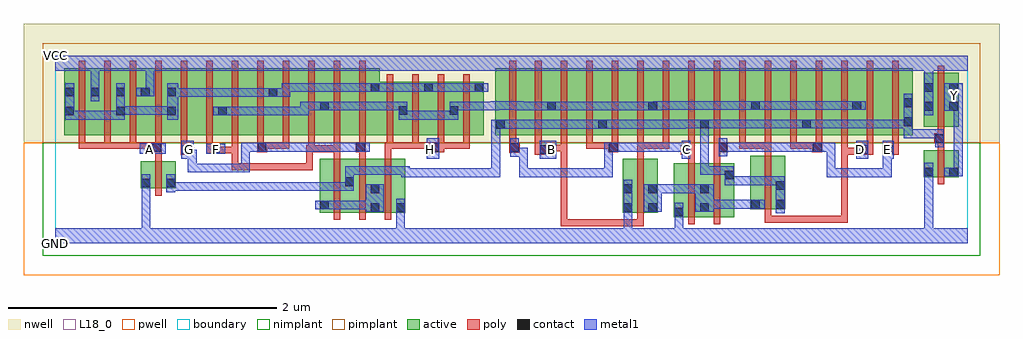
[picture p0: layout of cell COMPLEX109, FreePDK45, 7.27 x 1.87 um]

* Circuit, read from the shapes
.subckt COMPLEX109 A B C D E F G GND H VCC Y
M1 n1 A GND VSUBS nfet w=0.2u l=0.05u
M2 n1 F n2 VSUBS nfet w=0.4u l=0.05u
M3 n2 G n1 VSUBS nfet w=0.4u l=0.05u
M4 GND H n2 VSUBS nfet w=0.4u l=0.05u
M5 n3 B GND VSUBS nfet w=0.4u l=0.05u
M6 n3 C GND VSUBS nfet w=0.4u l=0.05u
M7 n1 E n3 VSUBS nfet w=0.4u l=0.05u
M8 n1 D n3 VSUBS nfet w=0.4u l=0.05u
M9 Y n1 GND VSUBS nfet w=0.2u l=0.05u
M10 VCC A n4 n5 pfet w=0.5u l=0.05u m=4
M11 n6 G n4 n5 pfet w=0.5u l=0.05u
M12 n7 F n6 n5 pfet w=0.5u l=0.05u
M13 n8 F n7 n5 pfet w=0.5u l=0.05u
M14 n4 G n8 n5 pfet w=0.5u l=0.05u
M15 n9 G n4 n5 pfet w=0.5u l=0.05u
M16 n7 F n9 n5 pfet w=0.5u l=0.05u
M17 n10 F n7 n5 pfet w=0.5u l=0.05u
M18 n4 G n10 n5 pfet w=0.5u l=0.05u
M19 n7 H n4 n5 pfet w=0.4u l=0.05u m=4
M20 n11 C n1 n5 pfet w=0.5u l=0.05u
M21 n7 B n11 n5 pfet w=0.5u l=0.05u
M22 n12 B n7 n5 pfet w=0.5u l=0.05u
M23 n1 C n12 n5 pfet w=0.5u l=0.05u
M24 n13 C n1 n5 pfet w=0.5u l=0.05u
M25 n7 B n13 n5 pfet w=0.5u l=0.05u
M26 n14 B n7 n5 pfet w=0.5u l=0.05u
M27 n1 C n14 n5 pfet w=0.5u l=0.05u
M28 n15 E n1 n5 pfet w=0.5u l=0.05u
M29 n7 D n15 n5 pfet w=0.5u l=0.05u
M30 n16 D n7 n5 pfet w=0.5u l=0.05u
M31 n1 E n16 n5 pfet w=0.5u l=0.05u
M32 n17 E n1 n5 pfet w=0.5u l=0.05u
M33 n7 D n17 n5 pfet w=0.5u l=0.05u
M34 n18 D n7 n5 pfet w=0.5u l=0.05u
M35 n1 E n18 n5 pfet w=0.5u l=0.05u
M36 Y n1 VCC n5 pfet w=0.4u l=0.05u
.ends

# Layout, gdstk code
import gdstk
lib = gdstk.Library(unit=1e-6, precision=1e-09)
def R(c, l, rs):  # rectangles x0, y0, x1, y1
    for r in rs: c.add(gdstk.rectangle(r[:2], r[2:], *l))
def A(c, l, x, y, w, h, nx, ny, dx, dy):  # array of equal rectangles
    R(c, l, [(x+i*dx, y+j*dy, x+i*dx+w, y+j*dy+h) for i in range(nx) for j in range(ny)])
active = (1, 0)
pwell = (2, 0)
nwell = (3, 0)
nimplant = (4, 0)
pimplant = (5, 0)
poly = (9, 0)
contact = (10, 0)
metal1 = (11, 0)
L18_0 = (18, 0)
boundary = (235, 0)

complex109 = lib.new_cell('COMPLEX109')
A(complex109, active, 0.07, 0.805, 0.075, 0.395, 3, 1, 0.38, 0)
A(complex109, active, 3.28, 0.805, 0.225, 0.5, 3, 1, 0.38, 0)
A(complex109, active, 4.04, 0.805, 0.075, 0.265, 3, 1, 0.76, 0)
A(complex109, active, 4.645, 0.805, 0.23, 0.5, 3, 1, 0.38, 0)
A(complex109, active, 4.8, 0.805, 0.225, 0.5, 3, 1, 0.38, 0)
R(complex109, active, [(4.61,0.197,4.875,0.597), (4.61,0.197,4.685,0.492), (4.8,0.197,5.06,0.597), (1.97,0.23,2.045,0.63), (1.97,0.23,2.23,0.63), (2.155,0.23,2.42,0.63), (2.345,0.23,2.42,0.492), (2.345,0.23,2.61,0.63), (2.535,0.23,2.61,0.63), (4.23,0.23,4.305,0.63), (4.23,0.23,4.49,0.63), (4.415,0.23,4.49,0.63), (4.8,0.23,4.875,0.492), (5.18,0.255,5.255,0.655), (5.18,0.255,5.44,0.655), (5.365,0.255,5.44,0.655), (2.155,0.295,2.23,0.63), (4.985,0.295,5.06,0.597), (0.64,0.412,0.715,0.612), (0.64,0.412,0.9,0.612), (0.825,0.412,0.9,0.612), (6.47,0.495,6.545,0.695), (6.47,0.495,6.73,0.695), (6.655,0.495,6.73,0.695), (0.07,0.805,0.335,1.305), (0.26,0.805,0.335,1.305), (0.26,0.805,0.525,1.305), (0.45,0.805,0.71,1.305), (0.635,0.805,0.905,1.305), (0.635,0.805,0.71,1.305), (0.83,0.805,1.055,1.305), (1.055,0.805,1.285,1.305), (1.21,0.805,1.435,1.305), (1.21,0.805,1.285,1.07), (1.435,0.805,1.66,1.305), (1.585,0.805,1.66,1.2), (1.585,0.805,1.815,1.305), (1.815,0.805,2.045,1.305), (1.97,0.805,2.195,1.305), (1.97,0.805,2.045,1.07), (2.195,0.805,2.42,1.305), (2.345,0.805,2.42,1.2), (2.345,0.805,2.63,1.205), (2.555,0.805,2.82,1.205), (2.555,0.805,2.63,1.07), (2.745,0.805,3.01,1.205), (2.745,0.805,2.82,1.2), (2.935,0.805,3.195,1.205), (2.935,0.805,3.01,1.07), (3.28,0.805,3.385,0.94), (3.505,0.805,3.735,1.305), (3.66,0.805,3.735,1.2), (3.885,0.805,4.115,1.305), (4.265,0.805,4.49,1.305), (4.415,0.805,4.49,1.2), (4.415,0.805,4.645,1.305), (5.18,0.805,5.255,1.2), (5.785,0.805,6.01,1.305), (5.935,0.805,6.01,1.2), (5.935,0.805,6.165,1.305), (6.165,0.805,6.39,1.305), (6.315,0.805,6.39,1.2), (6.47,0.87,6.545,1.27), (6.47,0.87,6.73,1.27), (6.655,0.87,6.73,1.2), (3.12,0.907,3.195,1.2)])
R(complex109, pwell, [(-0.235,-0.235,7.035,0.75)])
R(complex109, nwell, [(-0.235,0.75,7.035,1.635)])
R(complex109, nimplant, [(-0.09,-0.09,6.89,0.75)])
R(complex109, pimplant, [(-0.09,0.75,6.89,1.49)])
A(complex109, poly, 2.075, 0.175, 0.05, 0.51, 3, 1, 0.19, 0)
A(complex109, poly, 0.175, 0.705, 0.05, 0.095, 4, 1, 0.19, 0)
A(complex109, poly, 2.47, 0.705, 0.05, 0.095, 4, 1, 0.19, 0)
A(complex109, poly, 3.955, 0.705, 0.05, 0.095, 4, 1, 0.19, 0)
A(complex109, poly, 4.905, 0.705, 0.05, 0.095, 5, 1, 0.19, 0)
A(complex109, poly, 5.095, 0.705, 0.05, 0.05, 3, 1, 0.19, 0)
A(complex109, poly, 0.175, 0.75, 0.05, 0.61, 12, 1, 0.19, 0)
A(complex109, poly, 2.47, 0.75, 0.05, 0.51, 4, 1, 0.19, 0)
A(complex109, poly, 3.385, 0.75, 0.05, 0.61, 16, 1, 0.19, 0)
R(complex109, poly, [(3.765,0.13,3.815,0.18), (3.765,0.13,3.815,0.18), (3.765,0.13,3.815,0.18), (3.765,0.13,3.947,0.18), (3.765,0.13,3.815,0.737), (3.897,0.13,3.947,0.18), (3.897,0.13,3.947,0.18), (3.897,0.13,3.947,0.18), (3.897,0.13,4.08,0.18), (4.03,0.13,4.08,0.18), (4.03,0.13,4.252,0.18), (4.202,0.13,4.252,0.18), (4.202,0.13,4.385,0.18), (4.335,0.13,4.385,0.225), (4.335,0.13,4.385,0.18), (4.335,0.13,4.385,0.18), (4.335,0.13,4.385,0.18), (4.715,0.142,4.765,0.652), (4.905,0.142,4.955,0.652), (5.285,0.155,5.335,0.25), (5.285,0.155,5.335,0.205), (5.285,0.155,5.335,0.205), (5.285,0.155,5.335,0.205), (5.285,0.155,5.557,0.205), (5.507,0.155,5.557,0.205), (5.507,0.155,5.557,0.205), (5.507,0.155,5.557,0.205), (5.507,0.155,5.772,0.205), (5.722,0.155,5.772,0.205), (5.722,0.155,5.772,0.205), (5.722,0.155,5.772,0.205), (5.722,0.155,5.772,0.205), (5.722,0.155,5.772,0.205), (5.722,0.155,5.905,0.205), (5.855,0.155,5.905,0.205), (5.855,0.155,5.905,0.205), (5.855,0.155,5.905,0.205), (5.855,0.155,5.905,0.205), (5.855,0.155,5.905,0.205), (5.855,0.155,5.905,0.205), (5.855,0.155,5.905,0.205), (5.855,0.155,5.905,0.712), (4.335,0.175,4.385,0.685), (5.285,0.2,5.335,0.71), (0.745,0.357,0.795,0.667), (6.575,0.44,6.625,0.75), (1.315,0.547,1.365,0.597), (1.315,0.547,1.365,0.597), (1.315,0.547,1.365,0.597), (1.315,0.547,1.365,0.597), (1.315,0.547,1.365,0.597), (1.315,0.547,1.612,0.597), (1.315,0.547,1.365,0.722), (1.562,0.547,1.612,0.597), (1.562,0.547,1.682,0.597), (1.632,0.547,1.682,0.597), (1.632,0.547,1.787,0.597), (1.737,0.547,1.787,0.597), (1.737,0.547,1.915,0.597), (1.865,0.547,1.915,0.597), (1.865,0.547,1.92,0.597), (1.87,0.547,1.92,0.597), (1.87,0.547,1.92,0.73), (4.715,0.602,4.765,0.712), (4.905,0.602,4.955,0.73), (0.745,0.617,0.795,0.727), (2.075,0.635,2.125,0.73), (2.265,0.635,2.315,0.73), (2.455,0.635,2.505,0.755), (4.335,0.635,4.385,0.755), (5.285,0.66,5.335,0.755), (0.935,0.662,1.01,0.737), (3.575,0.662,3.682,0.737), (4.662,0.662,4.765,0.737), (5.855,0.662,5.905,0.712), (5.855,0.662,6.037,0.712), (5.855,0.662,5.905,0.8), (5.987,0.662,6.095,0.737), (5.987,0.662,6.037,0.712), (5.987,0.662,6.037,0.712), (6.177,0.662,6.285,0.737), (1.125,0.672,1.232,0.747), (1.182,0.672,1.232,0.722), (1.182,0.672,1.232,0.722), (1.182,0.672,1.365,0.722), (1.315,0.672,1.365,0.722), (1.315,0.672,1.365,0.8), (0.72,0.677,0.795,0.755), (3.385,0.677,3.46,0.752), (1.505,0.68,1.58,0.755), (1.87,0.68,1.92,0.73), (1.87,0.68,1.92,0.73), (1.87,0.68,1.935,0.73), (1.885,0.68,2.125,0.73), (1.885,0.68,1.935,0.8), (2.075,0.68,2.125,0.73), (2.075,0.68,2.125,0.73), (2.075,0.68,2.125,0.73), (2.075,0.68,2.125,0.8), (2.24,0.68,2.315,0.755), (2.792,0.68,2.9,0.755), (4.12,0.68,4.195,0.755), (4.905,0.68,5.012,0.755), (5.64,0.68,5.715,0.755), (0.935,0.687,0.985,0.8), (3.575,0.687,3.625,0.8), (3.632,0.687,3.815,0.737), (3.765,0.687,3.815,0.8), (3.765,0.687,3.815,0.737), (3.765,0.687,3.815,0.737), (3.765,0.687,3.815,0.737), (3.765,0.687,3.815,0.737), (3.765,0.687,3.815,0.737), (3.765,0.687,3.815,0.737), (3.765,0.687,3.815,0.737), (3.765,0.687,3.815,0.737), (3.765,0.687,3.815,0.737), (4.715,0.687,4.765,0.8), (6.045,0.687,6.095,0.8), (6.235,0.687,6.285,0.8), (1.125,0.697,1.175,0.8), (6.575,0.7,6.625,0.795), (3.385,0.702,3.435,0.8), (0.175,0.705,0.225,0.755), (0.175,0.705,0.225,0.755), (0.175,0.705,0.225,0.755), (0.175,0.705,0.415,0.755), (0.365,0.705,0.415,0.755), (0.365,0.705,0.415,0.755), (0.365,0.705,0.415,0.755), (0.365,0.705,0.605,0.755), (0.555,0.705,0.605,0.755), (0.555,0.705,0.605,0.755), (0.555,0.705,0.605,0.755), (0.555,0.705,0.77,0.755), (1.505,0.705,1.555,0.8), (1.53,0.705,1.58,0.755), (1.53,0.705,1.58,0.755), (1.53,0.705,1.745,0.755), (1.695,0.705,1.745,0.8), (1.695,0.705,1.745,0.755), (2.265,0.705,2.315,0.8), (2.455,0.705,2.52,0.755), (2.47,0.705,2.52,0.755), (2.47,0.705,2.52,0.755), (2.47,0.705,2.71,0.755), (2.66,0.705,2.71,0.755), (2.66,0.705,2.767,0.755), (2.717,0.705,2.767,0.755), (2.717,0.705,2.842,0.755), (2.85,0.705,2.9,0.755), (2.85,0.705,2.9,0.755), (2.85,0.705,3.09,0.755), (3.04,0.705,3.09,0.755), (3.955,0.705,4.005,0.755), (3.955,0.705,4.17,0.755), (4.12,0.705,4.17,0.755), (4.12,0.705,4.17,0.755), (4.335,0.705,4.385,0.755), (4.335,0.705,4.575,0.755), (4.525,0.705,4.575,0.755), (4.525,0.705,4.575,0.755), (4.525,0.705,4.575,0.755), (5.095,0.705,5.145,0.755), (5.095,0.705,5.145,0.755), (5.095,0.705,5.335,0.755), (5.475,0.705,5.525,0.755), (5.475,0.705,5.525,0.755), (5.475,0.705,5.69,0.755), (6.55,0.745,6.625,0.82), (6.575,0.77,6.625,0.865), (6.575,0.815,6.625,1.325)])
A(complex109, contact, 0.075, 0.955, 0.065, 0.065, 4, 1, 0.38, 0)
A(complex109, contact, 0.075, 1.095, 0.065, 0.065, 3, 1, 0.19, 0)
R(complex109, contact, [(4.615,0.202,4.68,0.267), (2.35,0.235,2.415,0.3), (2.54,0.235,2.605,0.3), (4.235,0.235,4.3,0.3), (4.42,0.235,4.485,0.3), (4.805,0.235,4.87,0.3), (1.975,0.255,2.04,0.32), (5.185,0.26,5.25,0.325), (5.37,0.26,5.435,0.325), (2.35,0.375,2.415,0.44), (4.235,0.375,4.3,0.44), (4.42,0.375,4.485,0.44), (4.805,0.375,4.87,0.44), (5.37,0.4,5.435,0.465), (0.645,0.417,0.71,0.482), (0.83,0.417,0.895,0.482), (2.16,0.427,2.225,0.492), (4.99,0.477,5.055,0.542), (6.475,0.5,6.54,0.565), (6.66,0.5,6.725,0.565), (0.94,0.667,1.005,0.732), (3.612,0.667,3.677,0.732), (4.667,0.667,4.732,0.732), (5.992,0.667,6.057,0.732), (6.182,0.667,6.247,0.732), (1.162,0.677,1.227,0.742), (0.725,0.682,0.79,0.747), (3.39,0.682,3.455,0.747), (1.51,0.685,1.575,0.75), (2.245,0.685,2.31,0.75), (2.797,0.685,2.862,0.75), (4.125,0.685,4.19,0.75), (4.942,0.685,5.007,0.75), (5.645,0.685,5.71,0.75), (6.555,0.75,6.62,0.815), (3.285,0.855,3.35,0.92), (4.045,0.855,4.11,0.92), (4.805,0.857,4.87,0.922), (5.565,0.857,5.63,0.922), (6.32,0.875,6.385,0.94), (2.56,0.957,2.625,1.022), (2.94,0.957,3.005,1.022), (6.475,0.99,6.54,1.055), (6.66,0.99,6.725,1.055), (1.975,0.992,2.04,1.057), (3.665,0.992,3.73,1.057), (4.42,0.992,4.485,1.057), (5.185,0.995,5.25,1.06), (5.94,0.995,6.005,1.06), (6.32,1.015,6.385,1.08), (1.59,1.092,1.655,1.157), (0.64,1.095,0.705,1.16), (0.835,1.095,0.9,1.16), (2.35,1.13,2.415,1.195), (2.75,1.13,2.815,1.195), (3.125,1.13,3.19,1.195), (6.475,1.13,6.54,1.195), (6.66,1.13,6.725,1.195)])
A(complex109, metal1, 5.817, 0.495, 0.065, 0.065, 3, 1, 0.075, 0)
R(complex109, metal1, [(0,0,6.8,0.115), (0.645,0.05,0.71,0.115), (0.645,0.05,0.71,0.115), (0.645,0.05,0.71,0.115), (0.645,0.05,0.71,0.115), (0.645,0.05,0.71,0.115), (0.645,0.05,0.71,0.115), (0.645,0.05,0.71,0.447), (2.54,0.05,2.605,0.115), (2.54,0.05,2.605,0.115), (2.54,0.05,2.605,0.265), (4.235,0.05,4.3,0.115), (4.235,0.05,4.3,0.115), (4.235,0.05,4.3,0.265), (4.615,0.05,4.68,0.115), (4.615,0.05,4.68,0.115), (4.615,0.05,4.68,0.232), (6.475,0.05,6.54,0.53), (4.615,0.167,4.68,0.302), (2.54,0.2,2.605,0.335), (4.235,0.2,4.3,0.475), (5.37,0.225,5.435,0.5), (2.315,0.235,2.45,0.44), (4.385,0.235,4.52,0.44), (4.77,0.235,4.905,0.44), (1.94,0.255,2.075,0.32), (2.01,0.255,2.075,0.32), (2.01,0.255,2.075,0.32), (2.01,0.255,2.212,0.32), (2.147,0.255,2.212,0.32), (2.147,0.255,2.312,0.32), (2.247,0.255,2.312,0.32), (2.247,0.255,2.38,0.32), (4.84,0.26,5.077,0.325), (5.012,0.26,5.077,0.325), (5.012,0.26,5.077,0.325), (5.012,0.26,5.077,0.325), (5.012,0.26,5.215,0.325), (5.15,0.26,5.215,0.325), (5.15,0.26,5.215,0.325), (5.15,0.26,5.285,0.325), (4.455,0.375,4.52,0.44), (4.455,0.375,4.52,0.44), (4.455,0.375,4.697,0.44), (4.632,0.375,4.697,0.44), (4.632,0.375,4.697,0.44), (4.632,0.375,4.697,0.44), (4.632,0.375,4.835,0.44), (0.645,0.382,0.71,0.517), (0.83,0.382,0.895,0.517), (0.83,0.392,0.895,0.457), (0.83,0.392,0.895,0.457), (0.83,0.392,1.055,0.457), (0.99,0.392,1.055,0.457), (0.99,0.392,1.17,0.457), (1.105,0.392,1.17,0.457), (1.105,0.392,1.315,0.457), (1.25,0.392,1.315,0.457), (1.25,0.392,1.315,0.457), (1.25,0.392,1.315,0.457), (1.25,0.392,1.472,0.457), (1.407,0.392,1.472,0.457), (1.407,0.392,1.61,0.457), (1.545,0.392,1.61,0.457), (1.545,0.392,1.61,0.457), (1.545,0.392,1.61,0.457), (1.545,0.392,1.752,0.457), (1.687,0.392,1.752,0.457), (1.687,0.392,1.827,0.457), (1.762,0.392,1.827,0.457), (1.762,0.392,1.89,0.457), (1.825,0.392,1.89,0.457), (1.825,0.392,2.075,0.457), (2.01,0.392,2.075,0.457), (2.01,0.392,2.075,0.457), (2.01,0.392,2.075,0.457), (2.01,0.392,2.225,0.457), (2.16,0.392,2.225,0.527), (4.99,0.435,5.215,0.5), (4.99,0.435,5.055,0.507), (5.15,0.435,5.215,0.5), (5.15,0.435,5.215,0.5), (5.15,0.435,5.215,0.5), (5.15,0.435,5.39,0.5), (5.325,0.435,5.39,0.5), (5.325,0.435,5.435,0.5), (4.99,0.442,5.055,0.507), (4.99,0.442,5.055,0.577), (2.16,0.462,2.225,0.527), (2.16,0.462,2.225,0.577), (6.475,0.465,6.54,0.53), (6.475,0.465,6.54,0.53), (6.475,0.465,6.54,0.53), (6.475,0.465,6.54,0.53), (6.475,0.465,6.54,0.53), (6.475,0.465,6.54,0.53), (6.475,0.465,6.54,0.6), (2.577,0.495,2.642,0.56), (2.577,0.495,2.642,0.56), (2.577,0.495,2.867,0.56), (2.577,0.495,2.642,0.577), (2.802,0.495,2.867,0.56), (2.802,0.495,2.867,0.56), (2.802,0.495,2.867,0.56), (2.802,0.495,2.867,0.56), (2.802,0.495,2.867,0.56), (2.802,0.495,3.005,0.56), (2.94,0.495,3.005,0.56), (2.94,0.495,3.005,0.56), (2.94,0.495,3.005,0.56), (2.94,0.495,3.142,0.56), (3.077,0.495,3.142,0.56), (3.077,0.495,3.315,0.56), (3.25,0.495,3.315,0.56), (3.25,0.495,3.315,0.56), (3.25,0.495,3.315,0.56), (3.25,0.495,3.315,0.92), (3.457,0.495,3.627,0.56), (3.457,0.495,3.522,0.712), (3.562,0.495,3.627,0.56), (3.562,0.495,3.66,0.56), (3.595,0.495,3.66,0.56), (3.595,0.495,3.765,0.56), (3.7,0.495,3.765,0.56), (3.7,0.495,3.902,0.56), (3.837,0.495,3.902,0.56), (3.837,0.495,3.902,0.56), (3.837,0.495,3.902,0.56), (3.837,0.495,4.155,0.56), (4.09,0.495,4.155,0.56), (4.09,0.495,4.155,0.75), (5.747,0.495,5.812,0.56), (5.747,0.495,5.882,0.56), (5.747,0.495,5.812,0.75), (5.817,0.495,5.957,0.56), (5.892,0.495,6.032,0.56), (5.967,0.495,6.232,0.56), (6.167,0.495,6.232,0.56), (6.167,0.495,6.232,0.697), (6.625,0.5,6.76,0.565), (6.695,0.5,6.76,0.565), (6.695,0.5,6.76,0.565), (6.695,0.5,6.76,0.565), (6.695,0.5,6.76,0.565), (6.695,0.5,6.76,1.055), (2.16,0.512,2.45,0.577), (2.385,0.512,2.45,0.577), (2.385,0.512,2.45,0.577), (2.385,0.512,2.45,0.577), (2.385,0.512,2.642,0.577), (4.805,0.512,4.87,0.577), (4.805,0.512,5.055,0.577), (4.805,0.512,4.87,0.922), (4.99,0.512,5.055,0.577), (4.99,0.512,5.055,0.577), (0.99,0.53,1.055,0.595), (0.99,0.53,1.17,0.595), (0.99,0.53,1.055,0.697), (1.105,0.53,1.17,0.595), (1.105,0.53,1.307,0.595), (1.242,0.53,1.307,0.595), (1.242,0.53,1.307,0.595), (1.242,0.53,1.307,0.595), (1.242,0.53,1.452,0.595), (1.387,0.53,1.452,0.595), (1.387,0.53,1.452,0.75), (0.94,0.632,1.032,0.767), (0.967,0.632,1.055,0.697), (0.99,0.632,1.055,0.697), (2.767,0.632,2.862,0.785), (3.612,0.632,3.732,0.767), (4.667,0.632,4.732,0.767), (5.967,0.632,6.057,0.767), (6.167,0.632,6.232,0.697), (6.167,0.632,6.232,0.697), (6.167,0.632,6.247,0.767), (3.39,0.647,3.455,0.782), (3.39,0.647,3.522,0.712), (3.457,0.647,3.522,0.712), (3.457,0.647,3.522,0.712), (4.942,0.65,5.007,0.785), (0.632,0.667,0.825,0.747), (1.127,0.667,1.267,0.742), (1.387,0.685,1.452,0.75), (1.387,0.685,1.54,0.75), (1.475,0.685,1.61,0.75), (1.545,0.685,1.61,0.75), (1.545,0.685,1.61,0.75), (1.545,0.685,1.752,0.75), (1.687,0.685,1.752,0.75), (1.687,0.685,1.827,0.75), (1.762,0.685,1.827,0.75), (1.762,0.685,1.89,0.75), (1.825,0.685,1.89,0.75), (1.825,0.685,2.027,0.75), (1.962,0.685,2.027,0.75), (1.962,0.685,2.027,0.75), (1.962,0.685,2.027,0.75), (1.962,0.685,2.212,0.75), (2.147,0.685,2.212,0.75), (2.147,0.685,2.275,0.75), (2.21,0.685,2.345,0.75), (4.09,0.685,4.155,0.75), (4.09,0.685,4.155,0.75), (4.09,0.685,4.225,0.75), (4.16,0.685,4.312,0.75), (4.247,0.685,4.312,0.75), (4.247,0.685,4.362,0.75), (4.297,0.685,4.362,0.75), (4.297,0.685,4.5,0.75), (4.435,0.685,4.5,0.75), (4.435,0.685,4.5,0.75), (4.435,0.685,4.5,0.75), (4.435,0.685,4.657,0.75), (4.592,0.685,4.657,0.75), (4.592,0.685,4.732,0.75), (4.942,0.685,5.042,0.75), (4.977,0.685,5.042,0.75), (4.977,0.685,5.215,0.75), (5.15,0.685,5.215,0.75), (5.15,0.685,5.215,0.75), (5.15,0.685,5.215,0.75), (5.15,0.685,5.39,0.75), (5.325,0.685,5.39,0.75), (5.325,0.685,5.457,0.75), (5.392,0.685,5.457,0.75), (5.392,0.685,5.527,0.75), (5.462,0.685,5.527,0.75), (5.462,0.685,5.675,0.75), (5.61,0.685,5.675,0.75), (5.61,0.685,5.675,0.75), (5.61,0.685,5.745,0.75), (5.68,0.685,5.812,0.75), (5.747,0.685,5.812,0.75), (6.555,0.715,6.62,0.85), (6.32,0.785,6.385,0.85), (6.32,0.785,6.385,0.85), (6.32,0.785,6.385,0.85), (6.32,0.785,6.62,0.85), (6.32,0.785,6.385,0.905), (6.32,0.84,6.385,1.115), (3.25,0.855,3.385,0.92), (3.32,0.855,3.49,0.92), (3.425,0.855,3.49,0.92), (3.425,0.855,3.522,0.92), (3.457,0.855,3.522,0.92), (3.457,0.855,3.627,0.92), (3.562,0.855,3.627,0.92), (3.562,0.855,3.765,0.92), (3.7,0.855,3.765,0.92), (3.7,0.855,3.765,0.92), (3.7,0.855,3.765,0.92), (3.7,0.855,3.937,0.92), (3.872,0.855,3.937,0.92), (3.872,0.855,3.937,0.92), (3.872,0.855,3.937,0.92), (3.872,0.855,4.075,0.92), (4.01,0.855,4.145,0.92), (4.08,0.855,4.145,0.92), (4.08,0.855,4.145,0.92), (4.08,0.855,4.312,0.92), (4.247,0.855,4.312,0.92), (4.247,0.855,4.362,0.92), (4.297,0.855,4.362,0.92), (4.297,0.855,4.5,0.92), (4.435,0.855,4.5,0.92), (4.435,0.855,4.5,0.92), (4.435,0.855,4.5,0.92), (4.435,0.855,4.697,0.92), (4.632,0.855,4.697,0.92), (4.632,0.855,4.697,0.92), (4.632,0.855,4.697,0.922), (4.632,0.857,4.835,0.922), (4.77,0.857,4.905,0.922), (4.805,0.857,4.87,0.922), (4.805,0.857,4.87,0.922), (4.84,0.857,5.042,0.922), (4.977,0.857,5.042,0.922), (4.977,0.857,5.042,0.922), (4.977,0.857,5.042,0.922), (4.977,0.857,5.252,0.922), (5.187,0.857,5.252,0.922), (5.187,0.857,5.252,0.922), (5.187,0.857,5.252,0.922), (5.187,0.857,5.39,0.922), (5.325,0.857,5.39,0.922), (5.325,0.857,5.422,0.922), (5.357,0.857,5.422,0.922), (5.357,0.857,5.527,0.922), (5.462,0.857,5.527,0.922), (5.462,0.857,5.595,0.922), (5.53,0.857,5.665,0.922), (5.6,0.857,5.665,0.922), (5.6,0.857,5.665,0.922), (5.6,0.857,5.812,0.922), (5.747,0.857,5.812,0.922), (5.747,0.857,5.882,0.922), (5.817,0.857,5.882,0.922), (5.817,0.857,5.957,0.922), (5.892,0.857,5.957,0.922), (5.892,0.857,6.095,0.922), (6.03,0.857,6.095,0.922), (6.03,0.857,6.095,0.922), (6.03,0.857,6.095,0.922), (6.03,0.857,6.232,0.922), (6.167,0.857,6.232,0.922), (6.167,0.857,6.385,0.922), (0.075,0.92,0.142,1.195), (0.455,0.92,0.52,1.195), (0.835,0.92,0.917,1.195), (0.077,0.922,0.142,0.987), (0.077,0.922,0.142,0.987), (0.077,0.922,0.382,0.987), (0.317,0.922,0.382,0.987), (0.317,0.922,0.382,0.987), (0.317,0.922,0.382,0.987), (0.317,0.922,0.52,0.987), (2.56,0.922,2.625,0.987), (2.56,0.922,2.625,0.987), (2.56,0.922,2.625,1.057), (2.56,0.922,2.785,0.987), (2.72,0.922,2.785,0.987), (2.72,0.922,3.005,0.987), (2.94,0.922,3.005,0.987), (2.94,0.922,3.005,0.987), (2.94,0.922,3.005,1.057), (1.18,0.955,1.315,1.02), (1.25,0.955,1.315,1.02), (1.25,0.955,1.315,1.02), (1.25,0.955,1.472,1.02), (1.407,0.955,1.472,1.02), (1.407,0.955,1.472,1.02), (1.407,0.955,1.472,1.02), (1.407,0.955,1.61,1.02), (1.545,0.955,1.61,1.02), (1.545,0.955,1.752,1.02), (1.687,0.955,1.752,1.02), (1.687,0.955,1.827,1.02), (1.762,0.955,1.827,1.02), (1.762,0.955,1.89,1.02), (1.825,0.955,1.89,1.057), (6.475,0.955,6.54,1.23), (0.455,0.957,0.52,1.022), (0.455,0.957,0.52,1.022), (0.455,0.957,0.74,1.022), (0.675,0.957,0.74,1.022), (0.675,0.957,0.74,1.022), (0.675,0.957,0.74,1.022), (0.675,0.957,0.9,1.022), (6.625,0.99,6.76,1.195), (6.695,0.99,6.76,1.055), (6.695,0.99,6.76,1.055), (1.825,0.992,2.005,1.057), (1.94,0.992,2.075,1.057), (2.01,0.992,2.075,1.057), (2.01,0.992,2.075,1.057), (2.01,0.992,2.242,1.057), (2.177,0.992,2.242,1.057), (2.177,0.992,2.242,1.057), (2.177,0.992,2.242,1.057), (2.177,0.992,2.45,1.057), (2.385,0.992,2.45,1.057), (2.385,0.992,2.45,1.057), (2.385,0.992,2.45,1.057), (2.385,0.992,2.625,1.057), (2.94,0.992,3.005,1.057), (2.94,0.992,3.005,1.057), (2.94,0.992,3.142,1.057), (3.077,0.992,3.142,1.057), (3.077,0.992,3.312,1.057), (3.247,0.992,3.312,1.06), (3.425,0.992,3.522,1.057), (3.425,0.992,3.49,1.06), (3.457,0.992,3.522,1.057), (3.457,0.992,3.627,1.057), (3.562,0.992,3.627,1.057), (3.562,0.992,3.695,1.057), (3.63,0.992,3.765,1.057), (3.7,0.992,3.765,1.057), (3.7,0.992,3.765,1.057), (3.7,0.992,3.937,1.057), (3.872,0.992,3.937,1.057), (3.872,0.992,3.937,1.057), (3.872,0.992,3.937,1.057), (3.872,0.992,4.075,1.057), (4.01,0.992,4.075,1.057), (4.01,0.992,4.075,1.057), (4.01,0.992,4.075,1.057), (4.01,0.992,4.312,1.057), (4.247,0.992,4.312,1.057), (4.247,0.992,4.362,1.057), (4.297,0.992,4.362,1.057), (4.297,0.992,4.45,1.057), (4.385,0.992,4.52,1.057), (4.455,0.992,4.52,1.057), (4.455,0.992,4.52,1.06), (3.247,0.995,3.362,1.06), (3.297,0.995,3.362,1.06), (3.297,0.995,3.362,1.06), (3.297,0.995,3.362,1.06), (3.297,0.995,3.49,1.06), (4.455,0.995,4.657,1.06), (4.592,0.995,4.657,1.06), (4.592,0.995,4.732,1.06), (4.667,0.995,4.732,1.06), (4.667,0.995,4.835,1.06), (4.77,0.995,4.835,1.06), (4.77,0.995,5.077,1.06), (5.012,0.995,5.077,1.06), (5.012,0.995,5.077,1.06), (5.012,0.995,5.077,1.06), (5.012,0.995,5.215,1.06), (5.15,0.995,5.215,1.06), (5.15,0.995,5.215,1.06), (5.15,0.995,5.285,1.06), (5.22,0.995,5.39,1.06), (5.325,0.995,5.39,1.06), (5.325,0.995,5.422,1.06), (5.357,0.995,5.422,1.06), (5.357,0.995,5.527,1.06), (5.462,0.995,5.527,1.06), (5.462,0.995,5.675,1.06), (5.61,0.995,5.675,1.06), (5.61,0.995,5.675,1.06), (5.61,0.995,5.675,1.06), (5.61,0.995,5.82,1.06), (5.755,0.995,5.82,1.06), (5.755,0.995,5.882,1.06), (5.817,0.995,5.882,1.06), (5.817,0.995,5.97,1.06), (5.905,0.995,6.04,1.06), (0.265,1.06,0.33,1.195), (0.852,1.092,0.917,1.157), (0.852,1.092,0.917,1.157), (0.852,1.092,1.107,1.157), (1.042,1.092,1.107,1.157), (1.042,1.092,1.17,1.157), (1.105,1.092,1.17,1.157), (1.105,1.092,1.307,1.157), (1.242,1.092,1.307,1.157), (1.242,1.092,1.307,1.157), (1.242,1.092,1.307,1.157), (1.242,1.092,1.472,1.157), (1.407,1.092,1.472,1.157), (1.407,1.092,1.472,1.157), (1.407,1.092,1.472,1.157), (1.407,1.092,1.62,1.157), (1.555,1.092,1.69,1.157), (1.625,1.092,1.752,1.157), (1.687,1.092,1.752,1.195), (0.605,1.095,0.74,1.16), (0.675,1.095,0.74,1.35), (0.265,1.13,0.33,1.35), (1.687,1.13,1.827,1.195), (1.762,1.13,1.827,1.195), (1.762,1.13,1.89,1.195), (1.825,1.13,1.89,1.195), (1.825,1.13,2.075,1.195), (2.01,1.13,2.075,1.195), (2.01,1.13,2.075,1.195), (2.01,1.13,2.075,1.195), (2.01,1.13,2.212,1.195), (2.147,1.13,2.212,1.195), (2.147,1.13,2.212,1.195), (2.147,1.13,2.212,1.195), (2.147,1.13,2.38,1.195), (2.315,1.13,2.45,1.195), (2.385,1.13,2.45,1.195), (2.385,1.13,2.45,1.195), (2.385,1.13,2.642,1.195), (2.577,1.13,2.642,1.195), (2.577,1.13,2.642,1.195), (2.577,1.13,2.642,1.195), (2.577,1.13,2.78,1.195), (2.715,1.13,2.85,1.195), (2.785,1.13,2.85,1.195), (2.785,1.13,2.85,1.195), (2.785,1.13,3.005,1.195), (2.94,1.13,3.005,1.195), (2.94,1.13,3.155,1.195), (3.09,1.13,3.155,1.195), (3.09,1.13,3.155,1.195), (3.09,1.13,3.225,1.195), (6.475,1.165,6.54,1.35), (0,1.285,6.8,1.4)])
A(complex109, L18_0, 5.817, 0.495, 0.065, 0.065, 3, 1, 0.075, 0)
R(complex109, L18_0, [(0,0,6.8,0.115), (0.645,0.05,0.71,0.115), (0.645,0.05,0.71,0.115), (0.645,0.05,0.71,0.115), (0.645,0.05,0.71,0.115), (0.645,0.05,0.71,0.115), (0.645,0.05,0.71,0.115), (0.645,0.05,0.71,0.447), (2.54,0.05,2.605,0.115), (2.54,0.05,2.605,0.115), (2.54,0.05,2.605,0.265), (4.235,0.05,4.3,0.115), (4.235,0.05,4.3,0.115), (4.235,0.05,4.3,0.265), (4.615,0.05,4.68,0.115), (4.615,0.05,4.68,0.115), (4.615,0.05,4.68,0.232), (6.475,0.05,6.54,0.53), (4.615,0.167,4.68,0.302), (2.54,0.2,2.605,0.335), (4.235,0.2,4.3,0.475), (0.645,0.382,0.71,0.517), (6.475,0.465,6.54,0.6), (6.475,0.465,6.54,0.53), (6.475,0.465,6.54,0.53), (6.475,0.465,6.54,0.53), (6.475,0.465,6.54,0.53), (6.475,0.465,6.54,0.53), (6.475,0.465,6.54,0.53), (3.457,0.495,3.522,0.712), (3.457,0.495,3.627,0.56), (3.562,0.495,3.627,0.56), (3.562,0.495,3.66,0.56), (3.595,0.495,3.66,0.56), (3.595,0.495,3.765,0.56), (3.7,0.495,3.765,0.56), (3.7,0.495,3.902,0.56), (3.837,0.495,3.902,0.56), (3.837,0.495,3.902,0.56), (3.837,0.495,3.902,0.56), (3.837,0.495,4.155,0.56), (4.09,0.495,4.155,0.56), (4.09,0.495,4.155,0.75), (5.747,0.495,5.812,0.56), (5.747,0.495,5.882,0.56), (5.747,0.495,5.812,0.75), (5.817,0.495,5.957,0.56), (5.892,0.495,6.032,0.56), (5.967,0.495,6.232,0.56), (6.167,0.495,6.232,0.56), (6.167,0.495,6.232,0.697), (6.625,0.5,6.76,0.565), (6.695,0.5,6.76,0.565), (6.695,0.5,6.76,0.565), (6.695,0.5,6.76,0.565), (6.695,0.5,6.76,0.565), (6.695,0.5,6.76,1.055), (0.99,0.53,1.055,0.595), (0.99,0.53,1.055,0.697), (0.99,0.53,1.17,0.595), (1.105,0.53,1.17,0.595), (1.105,0.53,1.307,0.595), (1.242,0.53,1.307,0.595), (1.242,0.53,1.307,0.595), (1.242,0.53,1.307,0.595), (1.242,0.53,1.452,0.595), (1.387,0.53,1.452,0.75), (1.387,0.53,1.452,0.595), (0.94,0.632,1.032,0.767), (0.967,0.632,1.055,0.697), (0.99,0.632,1.055,0.697), (2.767,0.632,2.862,0.785), (3.612,0.632,3.732,0.767), (4.667,0.632,4.732,0.767), (5.967,0.632,6.057,0.767), (6.167,0.632,6.232,0.697), (6.167,0.632,6.232,0.697), (6.167,0.632,6.247,0.767), (3.39,0.647,3.455,0.782), (3.39,0.647,3.522,0.712), (3.457,0.647,3.522,0.712), (3.457,0.647,3.522,0.712), (4.942,0.65,5.007,0.785), (0.632,0.667,0.825,0.747), (0.667,0.667,0.732,0.732), (0.967,0.667,1.032,0.732), (1.127,0.667,1.267,0.742), (1.167,0.667,1.232,0.732), (2.767,0.667,2.832,0.732), (3.667,0.667,3.732,0.732), (4.667,0.667,4.732,0.732), (5.967,0.667,6.032,0.732), (6.167,0.667,6.232,0.732), (1.387,0.685,1.452,0.75), (1.387,0.685,1.54,0.75), (1.475,0.685,1.61,0.75), (1.545,0.685,1.61,0.75), (1.545,0.685,1.61,0.75), (1.545,0.685,1.752,0.75), (1.687,0.685,1.752,0.75), (1.687,0.685,1.827,0.75), (1.762,0.685,1.827,0.75), (1.762,0.685,1.89,0.75), (1.825,0.685,1.89,0.75), (1.825,0.685,2.027,0.75), (1.962,0.685,2.027,0.75), (1.962,0.685,2.027,0.75), (1.962,0.685,2.027,0.75), (1.962,0.685,2.212,0.75), (2.147,0.685,2.212,0.75), (2.147,0.685,2.275,0.75), (2.21,0.685,2.345,0.75), (4.09,0.685,4.155,0.75), (4.09,0.685,4.155,0.75), (4.09,0.685,4.225,0.75), (4.16,0.685,4.312,0.75), (4.247,0.685,4.312,0.75), (4.247,0.685,4.362,0.75), (4.297,0.685,4.362,0.75), (4.297,0.685,4.5,0.75), (4.435,0.685,4.5,0.75), (4.435,0.685,4.5,0.75), (4.435,0.685,4.5,0.75), (4.435,0.685,4.657,0.75), (4.592,0.685,4.657,0.75), (4.592,0.685,4.732,0.75), (4.942,0.685,5.042,0.75), (4.977,0.685,5.042,0.75), (4.977,0.685,5.215,0.75), (5.15,0.685,5.215,0.75), (5.15,0.685,5.215,0.75), (5.15,0.685,5.215,0.75), (5.15,0.685,5.39,0.75), (5.325,0.685,5.39,0.75), (5.325,0.685,5.457,0.75), (5.392,0.685,5.457,0.75), (5.392,0.685,5.527,0.75), (5.462,0.685,5.527,0.75), (5.462,0.685,5.675,0.75), (5.61,0.685,5.675,0.75), (5.61,0.685,5.675,0.75), (5.61,0.685,5.745,0.75), (5.68,0.685,5.812,0.75), (5.747,0.685,5.812,0.75), (6.475,0.955,6.54,1.23), (6.625,0.99,6.76,1.195), (6.695,0.99,6.76,1.055), (6.695,0.99,6.76,1.055), (0.265,1.06,0.33,1.195), (6.667,1.067,6.732,1.132), (0.605,1.095,0.74,1.16), (0.675,1.095,0.74,1.35), (0.265,1.13,0.33,1.35), (6.475,1.165,6.54,1.35), (0,1.285,6.8,1.4)])
R(complex109, boundary, [(0,0,6.8,1.4)])
complex109.add(gdstk.Label('A', (0.7,0.7), layer=11, texttype=0))
complex109.add(gdstk.Label('B', (3.7,0.7), layer=11, texttype=0))
complex109.add(gdstk.Label('C', (4.7,0.7), layer=11, texttype=0))
complex109.add(gdstk.Label('D', (6,0.7), layer=11, texttype=0))
complex109.add(gdstk.Label('E', (6.2,0.7), layer=11, texttype=0))
complex109.add(gdstk.Label('F', (1.2,0.7), layer=11, texttype=0))
complex109.add(gdstk.Label('G', (1,0.7), layer=11, texttype=0))
complex109.add(gdstk.Label('H', (2.8,0.7), layer=11, texttype=0))
complex109.add(gdstk.Label('Y', (6.7,1.1), layer=11, texttype=0))
complex109.add(gdstk.Label('VCC', (0,1.4), layer=11, texttype=0))
complex109.add(gdstk.Label('GND', (0,0), layer=11, texttype=0))

lib.write_gds('COMPLEX109.gds')
